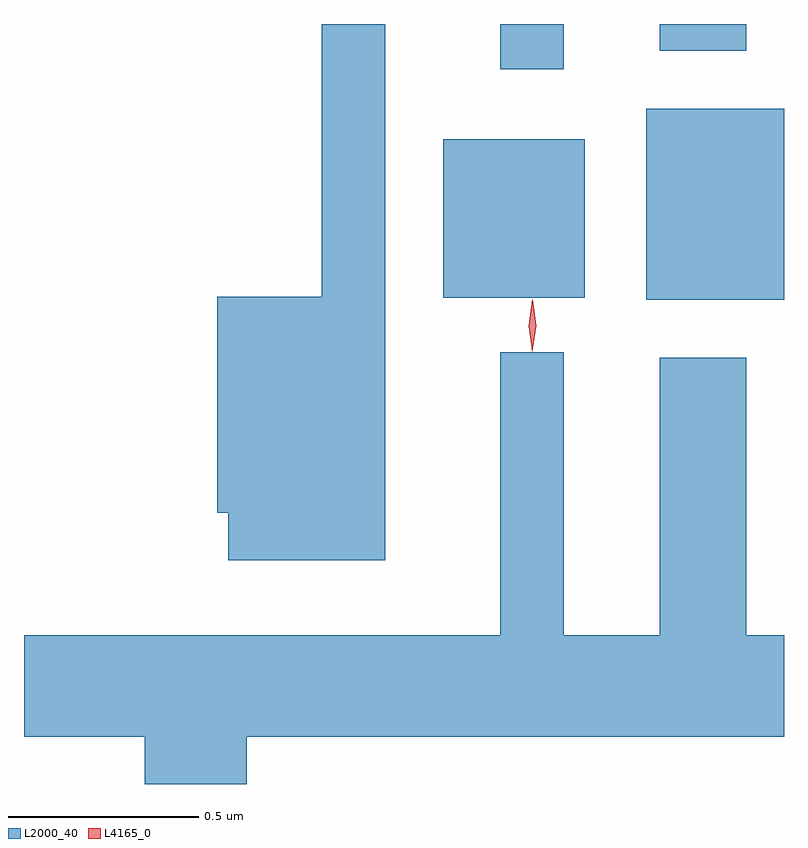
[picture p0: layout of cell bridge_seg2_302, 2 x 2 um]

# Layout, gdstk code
import gdstk
lib = gdstk.Library(unit=1e-6, precision=1e-09)
def R(c, l, rs):  # rectangles x0, y0, x1, y1
    for r in rs: c.add(gdstk.rectangle(r[:2], r[2:], *l))
def P(c, l, *ps):  # polygons
    for p in ps: c.add(gdstk.Polygon(p, *l))
L2000_40 = (2000, 40)
L4165_0 = (4165, 0)

bridge_seg2_302 = lib.new_cell('bridge_seg2_302')
R(bridge_seg2_302, L2000_40, [(536.076,1076.106,536.438,1076.609), (535.541,1076.111,535.914,1076.529), (535.691,1076.713,535.859,1076.832), (536.111,1076.761,536.339,1076.832)])
P(bridge_seg2_302, L2000_40, [(535.389,1076.832),(535.221,1076.832),(535.221,1076.114),(534.946,1076.114),(534.946,1075.546),(534.976,1075.546),(534.976,1075.421),(535.389,1075.421)],
  [(535.024,1074.956),(536.438,1074.956),(536.438,1075.224),(536.339,1075.224),(536.339,1075.954),(536.111,1075.954),(536.111,1075.224),(535.859,1075.224),(535.859,1075.968),(535.691,1075.968),(535.691,1075.224),(534.438,1075.224),(534.438,1074.956),(534.756,1074.956),(534.756,1074.832),(535.024,1074.832)])
P(bridge_seg2_302, L4165_0, [(535.775,1075.973),(535.775,1075.974),(535.766,1076.037),(535.776,1076.101),(535.776,1076.102),(535.777,1076.101),(535.786,1076.037),(535.776,1075.974)],
  [(535.775,1075.97),(535.775,1075.97),(535.766,1076.038),(535.776,1076.106),(535.776,1076.106),(535.777,1076.106),(535.786,1076.038),(535.776,1075.97)])

lib.write_gds('bridge_seg2_302.gds')
